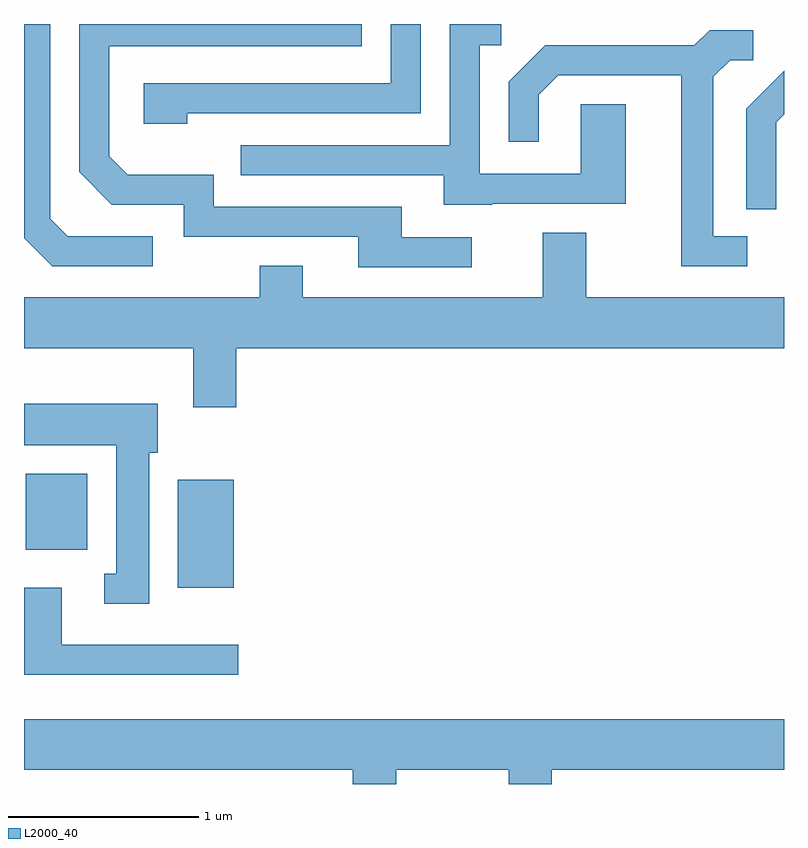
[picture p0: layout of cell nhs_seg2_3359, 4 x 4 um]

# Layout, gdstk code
import gdstk
lib = gdstk.Library(unit=1e-6, precision=1e-09)
def R(c, l, rs):  # rectangles x0, y0, x1, y1
    for r in rs: c.add(gdstk.rectangle(r[:2], r[2:], *l))
def P(c, l, *ps):  # polygons
    for p in ps: c.add(gdstk.Polygon(p, *l))
L2000_40 = (2000, 40)

nhs_seg2_3359 = lib.new_cell('nhs_seg2_3359')
R(nhs_seg2_3359, L2000_40, [(284.421,1044.836,284.714,1045.404), (283.621,1045.036,283.944,1045.434)])
P(nhs_seg2_3359, L2000_40, [(284.288,1046.684),(283.842,1046.684),(283.749,1046.777),(283.749,1047.802),(283.611,1047.802),(283.611,1046.674),(283.759,1046.526),(284.288,1046.526)],
  [(284.469,1047.331),(285.699,1047.331),(285.699,1047.802),(285.541,1047.802),(285.541,1047.489),(284.241,1047.489),(284.241,1047.276),(284.469,1047.276)],
  [(285.968,1046.679),(285.599,1046.679),(285.599,1046.839),(284.609,1046.839),(284.609,1047.009),(284.157,1047.009),(284.059,1047.107),(284.059,1047.686),(285.389,1047.686),(285.389,1047.802),(283.901,1047.802),(283.901,1047.024),(284.074,1046.851),(284.451,1046.851),(284.451,1046.681),(285.371,1046.681),(285.371,1046.521),(285.968,1046.521)],
  [(286.075,1046.856),(286.779,1046.856),(286.779,1047.379),(286.541,1047.379),(286.541,1047.014),(286.009,1047.014),(286.009,1047.691),(286.123,1047.691),(286.123,1047.802),(285.851,1047.802),(285.851,1047.164),(284.753,1047.164),(284.753,1047.006),(285.821,1047.006),(285.821,1046.851),(286.075,1046.851)],
  [(287.418,1046.684),(287.239,1046.684),(287.239,1047.524),(287.327,1047.611),(287.448,1047.611),(287.448,1047.769),(287.219,1047.769),(287.139,1047.689),(286.354,1047.689),(286.161,1047.497),(286.161,1047.183),(286.319,1047.183),(286.319,1047.429),(286.422,1047.531),(287.071,1047.531),(287.071,1046.526),(287.418,1046.526)],
  [(287.569,1047.284),(287.611,1047.326),(287.611,1047.557),(287.411,1047.357),(287.411,1046.828),(287.569,1046.828)],
  [(284.729,1046.096),(287.611,1046.096),(287.611,1046.364),(286.569,1046.364),(286.569,1046.704),(286.341,1046.704),(286.341,1046.364),(285.079,1046.364),(285.079,1046.529),(284.851,1046.529),(284.851,1046.364),(283.611,1046.364),(283.611,1046.096),(284.501,1046.096),(284.501,1045.786),(284.729,1045.786)],
  [(284.269,1045.546),(284.314,1045.546),(284.314,1045.804),(283.611,1045.804),(283.611,1045.586),(284.096,1045.586),(284.096,1044.909),(284.033,1044.909),(284.033,1044.751),(284.269,1044.751)],
  [(284.738,1044.534),(283.809,1044.534),(283.809,1044.834),(283.611,1044.834),(283.611,1044.376),(284.738,1044.376)],
  [(285.569,1043.876),(286.161,1043.876),(286.161,1043.802),(286.389,1043.802),(286.389,1043.876),(287.611,1043.876),(287.611,1044.144),(283.611,1044.144),(283.611,1043.876),(285.341,1043.876),(285.341,1043.802),(285.569,1043.802)])

lib.write_gds('nhs_seg2_3359.gds')
